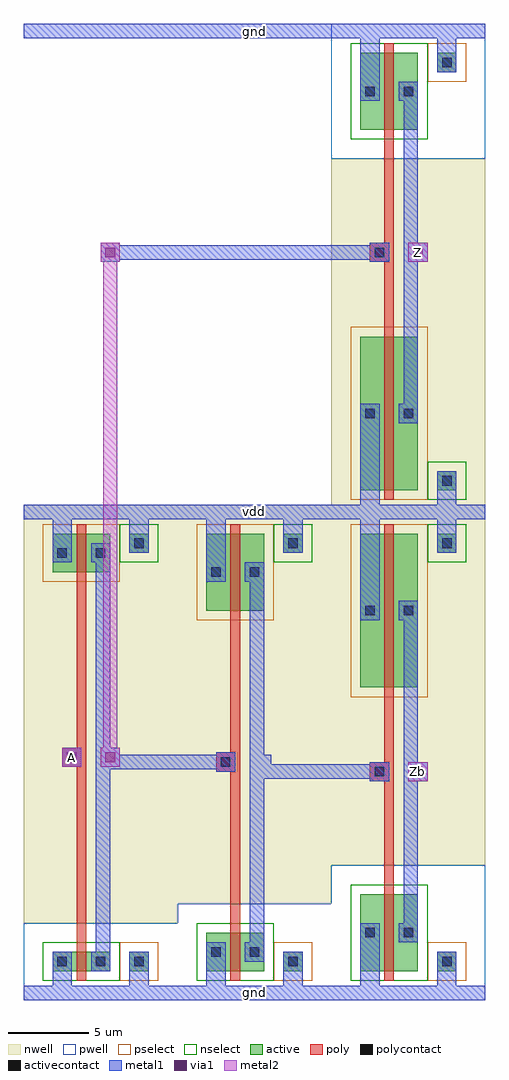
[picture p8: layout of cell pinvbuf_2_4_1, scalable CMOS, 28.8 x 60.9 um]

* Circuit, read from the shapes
.subckt pinvbuf_2_4_1 A Z Zb gnd vdd
M1 pinv_4_1/A A gnd gnd nfet w=1.2u l=0.6u
M2 pinv_5_2/A pinv_4_1/A gnd gnd nfet w=2.4u l=0.6u
M3 Zb pinv_5_2/A gnd gnd nfet w=4.8u l=0.6u
M4 Z pinv_4_1/A gnd gnd nfet w=4.8u l=0.6u
M5 pinv_4_1/A A vdd vdd pfet w=2.4u l=0.6u
M6 pinv_5_2/A pinv_4_1/A vdd vdd pfet w=4.8u l=0.6u
M7 Zb pinv_5_2/A vdd vdd pfet w=9.6u l=0.6u
M8 Z pinv_4_1/A vdd vdd pfet w=9.6u l=0.6u
.ends

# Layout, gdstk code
from math import pi, radians
import gdstk
lib = gdstk.Library(unit=1e-6, precision=1e-09)
def R(c, l, rs):  # rectangles x0, y0, x1, y1
    for r in rs: c.add(gdstk.rectangle(r[:2], r[2:], *l))
def A(c, l, x, y, w, h, nx, ny, dx, dy):  # array of equal rectangles
    R(c, l, [(x+i*dx, y+j*dy, x+i*dx+w, y+j*dy+h) for i in range(nx) for j in range(ny)])
pwell = (41, 0)
nwell = (42, 0)
active = (43, 0)
pselect = (44, 0)
nselect = (45, 0)
poly = (46, 0)
polycontact = (47, 0)
activecontact = (48, 0)
metal1 = (49, 0)
via1 = (50, 0)
metal2 = (51, 0)

active_contact_metal1_1x = lib.new_cell('active_contact_metal1_1x1_pn')
R(active_contact_metal1_1x, nwell, [(-1.8,-1.8,3,3)])
R(active_contact_metal1_1x, active, [(0,0,1.2,1.2)])
R(active_contact_metal1_1x, pselect, [(-0.6,-0.6,1.8,1.8)])
R(active_contact_metal1_1x, activecontact, [(0.3,0.3,0.9,0.9)])
R(active_contact_metal1_1x, metal1, [(0,0,1.2,1.2)])

pmos_m1_w2_4_a_p = lib.new_cell('pmos_m1_w2_4_a_p')
R(pmos_m1_w2_4_a_p, nwell, [(-1.8,-1.8,5.4,4.2)])
R(pmos_m1_w2_4_a_p, active, [(0,0,3.6,2.4)])
R(pmos_m1_w2_4_a_p, pselect, [(-0.6,-0.6,4.2,3)])
R(pmos_m1_w2_4_a_p, poly, [(1.5,-0.6,2.1,3), (1.5,-0.6,2.1,3)])
R(pmos_m1_w2_4_a_p, metal1, [(0,0.6,1.2,1.8), (2.4,0.6,3.6,1.8)])
pmos_m1_w2_4_a_p.add(gdstk.Reference(active_contact_metal1_1x, (0,0.6)))
pmos_m1_w2_4_a_p.add(gdstk.Reference(active_contact_metal1_1x, (2.4,0.6)))
pmos_m1_w2_4_a_p.add(gdstk.Label('G', (1.8,1.2), layer=46, texttype=0))
pmos_m1_w2_4_a_p.add(gdstk.Label('S', (0.6,1.2), layer=49, texttype=0))
pmos_m1_w2_4_a_p.add(gdstk.Label('D', (3,1.2), layer=49, texttype=0))

c_active_contact_metal1_1x = lib.new_cell('active_contact_metal1_1x1_np')
R(c_active_contact_metal1_1x, pwell, [(-1.8,-1.8,3,3)])
R(c_active_contact_metal1_1x, active, [(0,0,1.2,1.2)])
R(c_active_contact_metal1_1x, nselect, [(-0.6,-0.6,1.8,1.8)])
R(c_active_contact_metal1_1x, activecontact, [(0.3,0.3,0.9,0.9)])
R(c_active_contact_metal1_1x, metal1, [(0,0,1.2,1.2)])

nmos_m1_w1_2_a_p = lib.new_cell('nmos_m1_w1_2_a_p')
R(nmos_m1_w1_2_a_p, pwell, [(-1.8,-1.8,5.4,3)])
R(nmos_m1_w1_2_a_p, active, [(0,0,3.6,1.2)])
R(nmos_m1_w1_2_a_p, nselect, [(-0.6,-0.6,4.2,1.8)])
R(nmos_m1_w1_2_a_p, poly, [(1.5,-0.6,2.1,1.8), (1.5,-0.6,2.1,1.8)])
R(nmos_m1_w1_2_a_p, metal1, [(0,0,1.2,1.2), (2.4,0,3.6,1.2)])
nmos_m1_w1_2_a_p.add(gdstk.Reference(c_active_contact_metal1_1x, (0,0)))
nmos_m1_w1_2_a_p.add(gdstk.Reference(c_active_contact_metal1_1x, (2.4,0)))
nmos_m1_w1_2_a_p.add(gdstk.Label('G', (1.8,0.6), layer=46, texttype=0))
nmos_m1_w1_2_a_p.add(gdstk.Label('S', (0.6,0.6), layer=49, texttype=0))
nmos_m1_w1_2_a_p.add(gdstk.Label('D', (3,0.6), layer=49, texttype=0))

c_active_contact_metal1_1x_ = lib.new_cell('active_contact_metal1_1x1_nn')
R(c_active_contact_metal1_1x_, nwell, [(-1.8,-1.8,3,3)])
R(c_active_contact_metal1_1x_, active, [(0,0,1.2,1.2)])
R(c_active_contact_metal1_1x_, nselect, [(-0.6,-0.6,1.8,1.8)])
R(c_active_contact_metal1_1x_, activecontact, [(0.3,0.3,0.9,0.9)])
R(c_active_contact_metal1_1x_, metal1, [(0,0,1.2,1.2)])

c_active_contact_metal1_1x__ = lib.new_cell('active_contact_metal1_1x1_pp')
R(c_active_contact_metal1_1x__, pwell, [(-1.8,-1.8,3,3)])
R(c_active_contact_metal1_1x__, active, [(0,0,1.2,1.2)])
R(c_active_contact_metal1_1x__, pselect, [(-0.6,-0.6,1.8,1.8)])
R(c_active_contact_metal1_1x__, activecontact, [(0.3,0.3,0.9,0.9)])
R(c_active_contact_metal1_1x__, metal1, [(0,0,1.2,1.2)])

poly_contact_metal1_1x1 = lib.new_cell('poly_contact_metal1_1x1')
R(poly_contact_metal1_1x1, poly, [(0,0,1.2,1.2)])
R(poly_contact_metal1_1x1, polycontact, [(0.3,0.3,0.9,0.9)])
R(poly_contact_metal1_1x1, metal1, [(0,0,1.2,1.2)])

pinv_3 = lib.new_cell('pinv_3')
R(pinv_3, pwell, [(0,-0.45,9.6,4.35)])
R(pinv_3, nwell, [(0,4.35,9.6,30.45)])
R(pinv_3, poly, [(3.3,0.75,3.9,25.65), (3,14.1,3.3,15.3)])
R(pinv_3, metal1, [(0,-0.45,9.6,0.45), (1.8,-0.45,3,1.35), (6.6,0,7.8,1.95), (4.5,1.35,5.4,26.85), (2.4,14.1,3.6,15.3), (4.95,14.25,5.85,15.15), (1.8,26.85,3,30.45), (6.6,28.05,7.8,30), (0,29.55,9.6,30.45)])
pinv_3.add(gdstk.Reference(pmos_m1_w2_4_a_p, (1.8,26.25)))
pinv_3.add(gdstk.Reference(nmos_m1_w1_2_a_p, (1.8,1.35)))
pinv_3.add(gdstk.Reference(c_active_contact_metal1_1x_, (6.6,27.45)))
pinv_3.add(gdstk.Reference(c_active_contact_metal1_1x__, (6.6,1.35)))
pinv_3.add(gdstk.Reference(poly_contact_metal1_1x1, (2.4,14.1)))
pinv_3.add(gdstk.Label('gnd', (4.8,0), layer=49, texttype=0))
pinv_3.add(gdstk.Label('vdd', (4.8,30), layer=49, texttype=0))
pinv_3.add(gdstk.Label('A', (3,14.7), layer=49, texttype=0))
pinv_3.add(gdstk.Label('Z', (5.4,14.7), layer=49, texttype=0))

pmos_m1_w4_8_a_p = lib.new_cell('pmos_m1_w4_8_a_p')
R(pmos_m1_w4_8_a_p, nwell, [(-1.8,-1.8,5.4,6.6)])
R(pmos_m1_w4_8_a_p, active, [(0,0,3.6,4.8)])
R(pmos_m1_w4_8_a_p, pselect, [(-0.6,-0.6,4.2,5.4)])
R(pmos_m1_w4_8_a_p, poly, [(1.5,-0.6,2.1,5.4), (1.5,-0.6,2.1,5.4)])
R(pmos_m1_w4_8_a_p, metal1, [(0,1.8,1.2,3), (2.4,1.8,3.6,3)])
pmos_m1_w4_8_a_p.add(gdstk.Reference(active_contact_metal1_1x, (0,1.8)))
pmos_m1_w4_8_a_p.add(gdstk.Reference(active_contact_metal1_1x, (2.4,1.8)))
pmos_m1_w4_8_a_p.add(gdstk.Label('G', (1.8,2.4), layer=46, texttype=0))
pmos_m1_w4_8_a_p.add(gdstk.Label('S', (0.6,2.4), layer=49, texttype=0))
pmos_m1_w4_8_a_p.add(gdstk.Label('D', (3,2.4), layer=49, texttype=0))

nmos_m1_w2_4_a_p = lib.new_cell('nmos_m1_w2_4_a_p')
R(nmos_m1_w2_4_a_p, pwell, [(-1.8,-1.8,5.4,4.2)])
R(nmos_m1_w2_4_a_p, active, [(0,0,3.6,2.4)])
R(nmos_m1_w2_4_a_p, nselect, [(-0.6,-0.6,4.2,3)])
R(nmos_m1_w2_4_a_p, poly, [(1.5,-0.6,2.1,3), (1.5,-0.6,2.1,3)])
R(nmos_m1_w2_4_a_p, metal1, [(0,0.6,1.2,1.8), (2.4,0.6,3.6,1.8)])
nmos_m1_w2_4_a_p.add(gdstk.Reference(c_active_contact_metal1_1x, (0,0.6)))
nmos_m1_w2_4_a_p.add(gdstk.Reference(c_active_contact_metal1_1x, (2.4,0.6)))
nmos_m1_w2_4_a_p.add(gdstk.Label('G', (1.8,1.2), layer=46, texttype=0))
nmos_m1_w2_4_a_p.add(gdstk.Label('S', (0.6,1.2), layer=49, texttype=0))
nmos_m1_w2_4_a_p.add(gdstk.Label('D', (3,1.2), layer=49, texttype=0))

pinv_4 = lib.new_cell('pinv_4')
R(pinv_4, pwell, [(0,-0.45,9.6,5.55)])
R(pinv_4, nwell, [(0,5.55,9.6,30.45)])
R(pinv_4, poly, [(3.3,0.75,3.9,23.25), (3,13.8,3.3,15)])
R(pinv_4, metal1, [(0,-0.45,9.6,0.45), (1.8,-0.45,3,1.95), (6.6,0,7.8,1.95), (4.5,1.95,5.4,25.65), (2.4,13.8,3.6,15), (4.95,13.95,5.85,14.85), (1.8,25.65,3,30.45), (6.6,28.05,7.8,30), (0,29.55,9.6,30.45)])
pinv_4.add(gdstk.Reference(pmos_m1_w4_8_a_p, (1.8,23.85)))
pinv_4.add(gdstk.Reference(nmos_m1_w2_4_a_p, (1.8,1.35)))
pinv_4.add(gdstk.Reference(c_active_contact_metal1_1x_, (6.6,27.45)))
pinv_4.add(gdstk.Reference(c_active_contact_metal1_1x__, (6.6,1.35)))
pinv_4.add(gdstk.Reference(poly_contact_metal1_1x1, (2.4,13.8)))
pinv_4.add(gdstk.Label('gnd', (4.8,0), layer=49, texttype=0))
pinv_4.add(gdstk.Label('vdd', (4.8,30), layer=49, texttype=0))
pinv_4.add(gdstk.Label('A', (3,14.4), layer=49, texttype=0))
pinv_4.add(gdstk.Label('Z', (5.4,14.4), layer=49, texttype=0))

pmos_m1_w9_6_a_p = lib.new_cell('pmos_m1_w9_6_a_p')
R(pmos_m1_w9_6_a_p, nwell, [(-1.8,-1.8,5.4,11.4)])
R(pmos_m1_w9_6_a_p, active, [(0,0,3.6,9.6)])
R(pmos_m1_w9_6_a_p, pselect, [(-0.6,-0.6,4.2,10.2)])
R(pmos_m1_w9_6_a_p, poly, [(1.5,-0.6,2.1,10.2), (1.5,-0.6,2.1,10.2)])
R(pmos_m1_w9_6_a_p, metal1, [(0,4.2,1.2,5.4), (2.4,4.2,3.6,5.4)])
pmos_m1_w9_6_a_p.add(gdstk.Reference(active_contact_metal1_1x, (0,4.2)))
pmos_m1_w9_6_a_p.add(gdstk.Reference(active_contact_metal1_1x, (2.4,4.2)))
pmos_m1_w9_6_a_p.add(gdstk.Label('G', (1.8,4.8), layer=46, texttype=0))
pmos_m1_w9_6_a_p.add(gdstk.Label('S', (0.6,4.8), layer=49, texttype=0))
pmos_m1_w9_6_a_p.add(gdstk.Label('D', (3,4.8), layer=49, texttype=0))

nmos_m1_w4_8_a_p = lib.new_cell('nmos_m1_w4_8_a_p')
R(nmos_m1_w4_8_a_p, pwell, [(-1.8,-1.8,5.4,6.6)])
R(nmos_m1_w4_8_a_p, active, [(0,0,3.6,4.8)])
R(nmos_m1_w4_8_a_p, nselect, [(-0.6,-0.6,4.2,5.4)])
R(nmos_m1_w4_8_a_p, poly, [(1.5,-0.6,2.1,5.4), (1.5,-0.6,2.1,5.4)])
R(nmos_m1_w4_8_a_p, metal1, [(0,1.8,1.2,3), (2.4,1.8,3.6,3)])
nmos_m1_w4_8_a_p.add(gdstk.Reference(c_active_contact_metal1_1x, (0,1.8)))
nmos_m1_w4_8_a_p.add(gdstk.Reference(c_active_contact_metal1_1x, (2.4,1.8)))
nmos_m1_w4_8_a_p.add(gdstk.Label('G', (1.8,2.4), layer=46, texttype=0))
nmos_m1_w4_8_a_p.add(gdstk.Label('S', (0.6,2.4), layer=49, texttype=0))
nmos_m1_w4_8_a_p.add(gdstk.Label('D', (3,2.4), layer=49, texttype=0))

pinv_5 = lib.new_cell('pinv_5')
R(pinv_5, pwell, [(0,-0.45,9.6,7.95)])
R(pinv_5, nwell, [(0,7.95,9.6,30.45)])
R(pinv_5, poly, [(3.3,0.75,3.9,18.45), (3,13.2,3.3,14.4)])
R(pinv_5, metal1, [(0,-0.45,9.6,0.45), (1.8,-0.45,3,3.15), (6.6,0,7.8,1.95), (4.5,3.15,5.4,23.25), (2.4,13.2,3.6,14.4), (4.95,13.35,5.85,14.25), (1.8,23.25,3,30.45), (6.6,28.05,7.8,30), (0,29.55,9.6,30.45)])
pinv_5.add(gdstk.Reference(pmos_m1_w9_6_a_p, (1.8,19.05)))
pinv_5.add(gdstk.Reference(nmos_m1_w4_8_a_p, (1.8,1.35)))
pinv_5.add(gdstk.Reference(c_active_contact_metal1_1x_, (6.6,27.45)))
pinv_5.add(gdstk.Reference(c_active_contact_metal1_1x__, (6.6,1.35)))
pinv_5.add(gdstk.Reference(poly_contact_metal1_1x1, (2.4,13.2)))
pinv_5.add(gdstk.Label('gnd', (4.8,0), layer=49, texttype=0))
pinv_5.add(gdstk.Label('vdd', (4.8,30), layer=49, texttype=0))
pinv_5.add(gdstk.Label('A', (3,13.8), layer=49, texttype=0))
pinv_5.add(gdstk.Label('Z', (5.4,13.8), layer=49, texttype=0))

metal1_via1_metal2_1x1 = lib.new_cell('metal1_via1_metal2_1x1')
R(metal1_via1_metal2_1x1, metal1, [(0,0,1.2,1.2)])
R(metal1_via1_metal2_1x1, via1, [(0.3,0.3,0.9,0.9)])
R(metal1_via1_metal2_1x1, metal2, [(0,0,1.2,1.2)])

pinvbuf_2_4_1 = lib.new_cell('pinvbuf_2_4_1')
A(pinvbuf_2_4_1, metal1, 0, -0.45, 28.8, 0.9, 1, 3, 0, 30)
R(pinvbuf_2_4_1, metal1, [(14.55,13.35,15.45,14.25), (15,13.35,22.2,14.25), (14.55,13.8,15.45,14.4), (4.95,13.95,5.85,14.85), (5.4,13.95,12.6,14.85), (4.95,14.4,5.85,14.7), (5.4,45.75,22.2,46.65)])
R(pinvbuf_2_4_1, metal2, [(24.15,13.35,25.05,14.25), (2.55,14.25,3.45,15.15), (4.95,14.7,5.85,46.2), (24.15,45.75,25.05,46.65)])
pinvbuf_2_4_1.add(gdstk.Reference(pinv_3, (0,0)))
pinvbuf_2_4_1.add(gdstk.Reference(pinv_4, (9.6,0)))
pinvbuf_2_4_1.add(gdstk.Reference(pinv_5, (19.2,0)))
pinvbuf_2_4_1.add(gdstk.Reference(pinv_5, (19.2,60), x_reflection=True))
pinvbuf_2_4_1.add(gdstk.Reference(metal1_via1_metal2_1x1, (6,45.6), rotation=pi/2))
pinvbuf_2_4_1.add(gdstk.Reference(metal1_via1_metal2_1x1, (4.8,14.1)))
pinvbuf_2_4_1.add(gdstk.Reference(metal1_via1_metal2_1x1, (24,45.6)))
pinvbuf_2_4_1.add(gdstk.Reference(metal1_via1_metal2_1x1, (24,13.2)))
pinvbuf_2_4_1.add(gdstk.Reference(metal1_via1_metal2_1x1, (2.4,14.1)))
pinvbuf_2_4_1.add(gdstk.Label('vdd', (14.4,30), layer=49, texttype=0))
pinvbuf_2_4_1.add(gdstk.Label('gnd', (14.4,60), layer=49, texttype=0))
pinvbuf_2_4_1.add(gdstk.Label('gnd', (14.4,0), layer=49, texttype=0))
pinvbuf_2_4_1.add(gdstk.Label('Z', (24.6,46.2), layer=51, texttype=0))
pinvbuf_2_4_1.add(gdstk.Label('Zb', (24.6,13.8), layer=51, texttype=0))
pinvbuf_2_4_1.add(gdstk.Label('A', (3,14.7), layer=51, texttype=0))

lib.write_gds('pinvbuf_2_4_1.gds')
